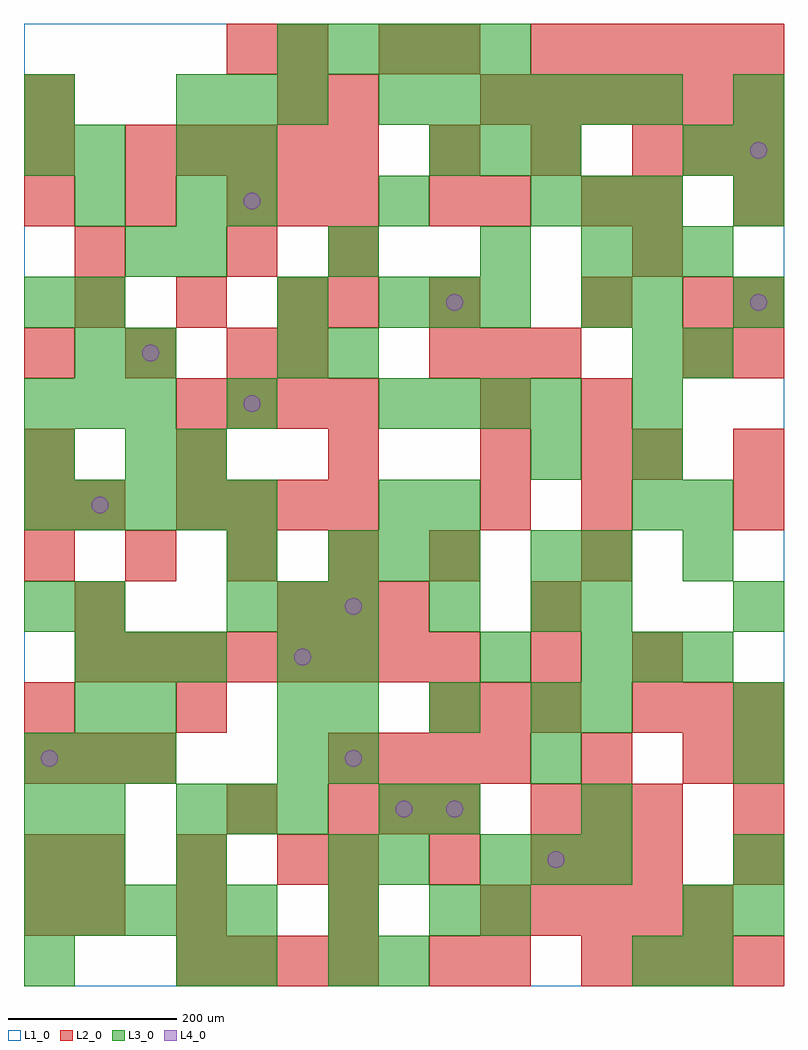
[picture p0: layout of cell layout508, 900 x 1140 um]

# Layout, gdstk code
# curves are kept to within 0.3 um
import gdstk
lib = gdstk.Library(unit=1e-6, precision=1e-09)
def R(c, l, rs):  # rectangles x0, y0, x1, y1
    for r in rs: c.add(gdstk.rectangle(r[:2], r[2:], *l))
def A(c, l, x, y, w, h, nx, ny, dx, dy):  # array of equal rectangles
    R(c, l, [(x+i*dx, y+j*dy, x+i*dx+w, y+j*dy+h) for i in range(nx) for j in range(ny)])
def P(c, l, *ps):  # polygons
    for p in ps: c.add(gdstk.Polygon(p, *l))
L1_0 = (1, 0)
L2_0 = (2, 0)
L3_0 = (3, 0)
L4_0 = (4, 0)

layout508 = lib.new_cell('layout508')
R(layout508, L1_0, [(0,0,900,1140)])
A(layout508, L2_0, 180, 0, 60, 60, 4, 2, 60, 540)
A(layout508, L2_0, 660, 0, 60, 60, 4, 1, 60, 0)
A(layout508, L2_0, 180, 60, 60, 60, 3, 1, 180, 0)
A(layout508, L2_0, 600, 60, 60, 60, 4, 1, 60, 0)
A(layout508, L2_0, 60, 120, 60, 60, 3, 2, 120, 660)
A(layout508, L2_0, 360, 120, 60, 60, 3, 1, 120, 0)
A(layout508, L2_0, 720, 120, 60, 60, 1, 4, 0, 240)
A(layout508, L2_0, 840, 120, 60, 60, 1, 3, 0, 60)
A(layout508, L2_0, 360, 180, 60, 60, 3, 1, 60, 0)
A(layout508, L2_0, 600, 180, 60, 60, 3, 1, 60, 0)
A(layout508, L2_0, 0, 240, 60, 60, 3, 1, 60, 0)
A(layout508, L2_0, 360, 240, 60, 60, 4, 1, 60, 0)
A(layout508, L2_0, 480, 300, 60, 60, 3, 2, 60, 420)
A(layout508, L2_0, 720, 300, 60, 60, 3, 1, 60, 0)
A(layout508, L2_0, 60, 360, 60, 60, 8, 1, 60, 0)
A(layout508, L2_0, 300, 420, 60, 60, 3, 1, 60, 0)
A(layout508, L2_0, 0, 480, 60, 60, 5, 1, 120, 0)
A(layout508, L2_0, 660, 480, 60, 60, 1, 4, 0, 60)
A(layout508, L2_0, 0, 600, 60, 60, 4, 1, 180, 0)
A(layout508, L2_0, 180, 660, 60, 60, 4, 1, 60, 0)
A(layout508, L2_0, 0, 720, 60, 60, 3, 2, 120, 180)
A(layout508, L2_0, 360, 780, 60, 60, 1, 3, 0, 60)
A(layout508, L2_0, 120, 960, 60, 60, 5, 1, 60, 0)
A(layout508, L2_0, 480, 960, 60, 60, 3, 1, 120, 0)
A(layout508, L2_0, 540, 1020, 60, 60, 6, 1, 60, 0)
A(layout508, L2_0, 600, 1080, 60, 60, 5, 1, 60, 0)
R(layout508, L2_0, [(480,0,540,60), (540,0,600,60), (0,60,60,120), (60,60,120,120), (0,120,60,180), (660,120,720,180), (240,180,300,240), (660,240,720,300), (780,240,840,300), (0,300,60,360), (180,300,240,360), (600,360,660,420), (60,420,120,480), (600,420,660,480), (0,540,60,600), (60,540,120,600), (540,540,600,600), (840,540,900,600), (840,600,900,660), (540,660,600,720), (300,720,360,780), (780,720,840,780), (840,720,900,780), (480,780,540,840), (660,780,720,840), (780,780,840,840), (840,780,900,840), (60,840,120,900), (240,840,300,900), (300,900,360,960), (480,900,540,960), (540,900,600,960), (660,900,720,960), (720,900,780,960), (840,900,900,960), (0,960,60,1020), (780,960,840,1020), (840,960,900,1020), (0,1020,60,1080), (300,1020,360,1080), (360,1020,420,1080), (240,1080,300,1140), (300,1080,360,1140), (420,1080,480,1140), (480,1080,540,1140)])
A(layout508, L3_0, 360, 0, 60, 60, 1, 3, 0, 60)
A(layout508, L3_0, 0, 60, 60, 60, 5, 2, 60, 480)
A(layout508, L3_0, 540, 120, 60, 60, 3, 1, 60, 0)
A(layout508, L3_0, 60, 180, 60, 60, 1, 3, 0, 120)
A(layout508, L3_0, 180, 180, 60, 60, 3, 2, 60, 840)
A(layout508, L3_0, 660, 180, 60, 60, 1, 3, 0, 120)
A(layout508, L3_0, 0, 240, 60, 60, 3, 2, 60, 420)
A(layout508, L3_0, 300, 240, 60, 60, 1, 3, 0, 60)
A(layout508, L3_0, 360, 240, 60, 60, 3, 1, 240, 0)
A(layout508, L3_0, 360, 300, 60, 60, 3, 1, 120, 0)
A(layout508, L3_0, 60, 360, 60, 60, 3, 1, 60, 0)
A(layout508, L3_0, 660, 360, 60, 60, 3, 2, 60, 480)
A(layout508, L3_0, 0, 420, 60, 60, 1, 4, 0, 180)
A(layout508, L3_0, 240, 420, 60, 60, 3, 1, 60, 0)
A(layout508, L3_0, 360, 480, 60, 60, 3, 1, 60, 0)
A(layout508, L3_0, 720, 540, 60, 60, 1, 5, 0, 60)
A(layout508, L3_0, 120, 600, 60, 60, 1, 3, 0, 120)
A(layout508, L3_0, 420, 660, 60, 60, 4, 1, 60, 0)
A(layout508, L3_0, 420, 780, 60, 60, 3, 1, 60, 0)
A(layout508, L3_0, 180, 840, 60, 60, 3, 1, 180, 0)
A(layout508, L3_0, 240, 900, 60, 60, 3, 1, 180, 0)
A(layout508, L3_0, 840, 900, 60, 60, 1, 3, 0, 60)
A(layout508, L3_0, 480, 960, 60, 60, 3, 1, 60, 0)
A(layout508, L3_0, 420, 1020, 60, 60, 6, 1, 60, 0)
A(layout508, L3_0, 300, 1080, 60, 60, 5, 1, 60, 0)
R(layout508, L3_0, [(0,0,60,60), (180,0,240,60), (240,0,300,60), (420,0,480,60), (720,0,780,60), (780,0,840,60), (480,60,540,120), (540,60,600,120), (780,60,840,120), (840,60,900,120), (0,120,60,180), (60,120,120,180), (180,120,240,180), (420,120,480,180), (840,120,900,180), (0,180,60,240), (420,180,480,240), (480,180,540,240), (120,300,180,360), (840,300,900,360), (360,360,420,420), (540,360,600,420), (480,420,540,480), (600,420,660,480), (840,420,900,480), (240,480,300,540), (600,480,660,540), (660,480,720,540), (780,480,840,540), (420,540,480,600), (480,540,540,600), (780,540,840,600), (180,600,240,660), (600,600,660,660), (240,660,300,720), (60,720,120,780), (300,720,360,780), (360,720,420,780), (780,720,840,780), (60,780,120,840), (300,780,360,840), (660,780,720,840), (840,780,900,840), (60,900,120,960), (180,900,240,960), (660,900,720,960), (720,900,780,960), (60,960,120,1020), (180,960,240,1020), (240,960,300,1020), (780,960,840,1020), (0,1020,60,1080)])
P(layout508, L4_0, [(40,270),(39.239,273.827),(37.071,277.071),(33.827,279.239),(30,280),(26.173,279.239),(22.929,277.071),(20.761,273.827),(20,270),(20.761,266.173),(22.929,262.929),(26.173,260.761),(30,260),(33.827,260.761),(37.071,262.929),(39.239,266.173)],
  [(100,570),(99.239,573.827),(97.071,577.071),(93.827,579.239),(90,580),(86.173,579.239),(82.929,577.071),(80.761,573.827),(80,570),(80.761,566.173),(82.929,562.929),(86.173,560.761),(90,560),(93.827,560.761),(97.071,562.929),(99.239,566.173)],
  [(160,750),(159.239,753.827),(157.071,757.071),(153.827,759.239),(150,760),(146.173,759.239),(142.929,757.071),(140.761,753.827),(140,750),(140.761,746.173),(142.929,742.929),(146.173,740.761),(150,740),(153.827,740.761),(157.071,742.929),(159.239,746.173)],
  [(280,690),(279.239,693.827),(277.071,697.071),(273.827,699.239),(270,700),(266.173,699.239),(262.929,697.071),(260.761,693.827),(260,690),(260.761,686.173),(262.929,682.929),(266.173,680.761),(270,680),(273.827,680.761),(277.071,682.929),(279.239,686.173)],
  [(280,930),(279.239,933.827),(277.071,937.071),(273.827,939.239),(270,940),(266.173,939.239),(262.929,937.071),(260.761,933.827),(260,930),(260.761,926.173),(262.929,922.929),(266.173,920.761),(270,920),(273.827,920.761),(277.071,922.929),(279.239,926.173)],
  [(340,390),(339.239,393.827),(337.071,397.071),(333.827,399.239),(330,400),(326.173,399.239),(322.929,397.071),(320.761,393.827),(320,390),(320.761,386.173),(322.929,382.929),(326.173,380.761),(330,380),(333.827,380.761),(337.071,382.929),(339.239,386.173)],
  [(400,270),(399.239,273.827),(397.071,277.071),(393.827,279.239),(390,280),(386.173,279.239),(382.929,277.071),(380.761,273.827),(380,270),(380.761,266.173),(382.929,262.929),(386.173,260.761),(390,260),(393.827,260.761),(397.071,262.929),(399.239,266.173)],
  [(400,450),(399.239,453.827),(397.071,457.071),(393.827,459.239),(390,460),(386.173,459.239),(382.929,457.071),(380.761,453.827),(380,450),(380.761,446.173),(382.929,442.929),(386.173,440.761),(390,440),(393.827,440.761),(397.071,442.929),(399.239,446.173)],
  [(460,210),(459.239,213.827),(457.071,217.071),(453.827,219.239),(450,220),(446.173,219.239),(442.929,217.071),(440.761,213.827),(440,210),(440.761,206.173),(442.929,202.929),(446.173,200.761),(450,200),(453.827,200.761),(457.071,202.929),(459.239,206.173)],
  [(520,210),(519.239,213.827),(517.071,217.071),(513.827,219.239),(510,220),(506.173,219.239),(502.929,217.071),(500.761,213.827),(500,210),(500.761,206.173),(502.929,202.929),(506.173,200.761),(510,200),(513.827,200.761),(517.071,202.929),(519.239,206.173)],
  [(520,810),(519.239,813.827),(517.071,817.071),(513.827,819.239),(510,820),(506.173,819.239),(502.929,817.071),(500.761,813.827),(500,810),(500.761,806.173),(502.929,802.929),(506.173,800.761),(510,800),(513.827,800.761),(517.071,802.929),(519.239,806.173)],
  [(640,150),(639.239,153.827),(637.071,157.071),(633.827,159.239),(630,160),(626.173,159.239),(622.929,157.071),(620.761,153.827),(620,150),(620.761,146.173),(622.929,142.929),(626.173,140.761),(630,140),(633.827,140.761),(637.071,142.929),(639.239,146.173)],
  [(880,810),(879.239,813.827),(877.071,817.071),(873.827,819.239),(870,820),(866.173,819.239),(862.929,817.071),(860.761,813.827),(860,810),(860.761,806.173),(862.929,802.929),(866.173,800.761),(870,800),(873.827,800.761),(877.071,802.929),(879.239,806.173)],
  [(880,990),(879.239,993.827),(877.071,997.071),(873.827,999.239),(870,1000),(866.173,999.239),(862.929,997.071),(860.761,993.827),(860,990),(860.761,986.173),(862.929,982.929),(866.173,980.761),(870,980),(873.827,980.761),(877.071,982.929),(879.239,986.173)])

lib.write_gds('layout508.gds')
